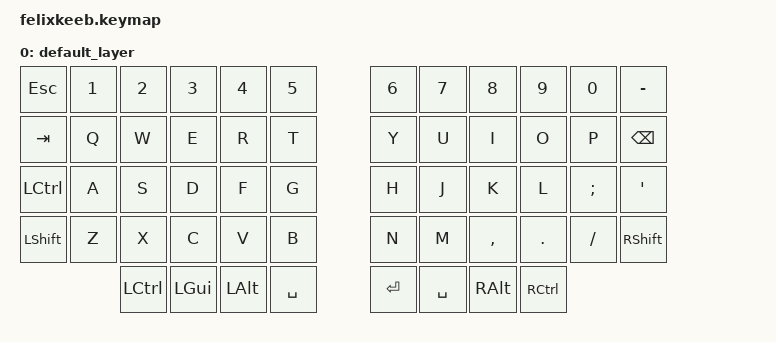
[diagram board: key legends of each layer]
#include <behaviors.dtsi>
#include <dt-bindings/zmk/keys.h>
#include <dt-bindings/zmk/bt.h>

/ {
    keymap {
        compatible = "zmk,keymap";
        default_layer {
            bindings = <
                &kp ESC &kp N1 &kp N2 &kp N3 &kp N4 &kp N5   &kp N6 &kp N7 &kp N8 &kp N9 &kp N0 &kp MINUS
                &kp TAB &kp Q &kp W &kp E &kp R &kp T        &kp Y &kp U &kp I &kp O &kp P &kp BSPC
                &kp LCTRL &kp A &kp S &kp D &kp F &kp G      &kp H &kp J &kp K &kp L &kp SEMI &kp SQT
                &kp LSHFT &kp Z &kp X &kp C &kp V &kp B      &kp N &kp M &kp COMMA &kp DOT &kp SLASH &kp RSHFT
                &kp LCTRL &kp LGUI &kp LALT &kp SPACE &kp RET &kp SPACE &kp RALT &kp RCTRL
            >;
        };
    };
};
